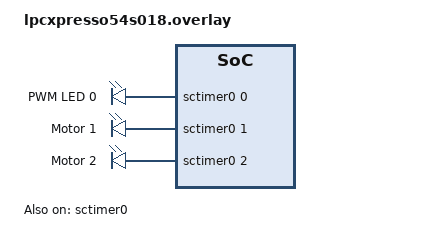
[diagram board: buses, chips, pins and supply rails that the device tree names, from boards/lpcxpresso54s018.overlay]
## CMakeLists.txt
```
# SPDX-License-Identifier: Apache-2.0

cmake_minimum_required(VERSION 3.20.0)
find_package(Zephyr REQUIRED HINTS $ENV{ZEPHYR_BASE})
project(pwm)

target_sources(app PRIVATE src/main.c)
```

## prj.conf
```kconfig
# Enable PWM support
CONFIG_PWM=y

# Enable GPIO for status LED
CONFIG_GPIO=y

# Console output
CONFIG_CONSOLE=y
CONFIG_UART_CONSOLE=y
CONFIG_SERIAL=y

# Logging
CONFIG_LOG=y
CONFIG_PWM_LOG_LEVEL_INF=y
```

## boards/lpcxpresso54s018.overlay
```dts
/*
 * Copyright (c) 2025 Xtooltech
 * SPDX-License-Identifier: Apache-2.0
 */

/* Enable SCTimer PWM */
&sctimer0 {
	status = "okay";
	pinctrl-0 = <&pinmux_sctimer_pwm>;
	pinctrl-names = "default";
};

/* Aliases for PWM channels */
/ {
	aliases {
		pwm-0 = &sctimer0;
		pwm-led0 = &sctimer0;
	};
	
	pwmleds {
		compatible = "pwm-leds";
		
		/* PWM controlled LED on channel 0 */
		pwm_led0: pwm_led_0 {
			pwms = <&sctimer0 0 PWM_MSEC(20) PWM_POLARITY_NORMAL>;
			label = "PWM LED 0";
		};
		
		/* Additional PWM channels for motor control */
		pwm_motor1: pwm_motor_1 {
			pwms = <&sctimer0 1 PWM_MSEC(20) PWM_POLARITY_NORMAL>;
			label = "Motor 1";
		};
		
		pwm_motor2: pwm_motor_2 {
			pwms = <&sctimer0 2 PWM_MSEC(20) PWM_POLARITY_NORMAL>;
			label = "Motor 2";
		};
	};
};
```

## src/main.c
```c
/*
 * Copyright (c) 2025 Xtooltech
 * SPDX-License-Identifier: Apache-2.0
 * 
 * LPC54S018 PWM Sample Application
 * Demonstrates PWM control using SCTimer
 */

#include <zephyr/kernel.h>
#include <zephyr/device.h>
#include <zephyr/drivers/pwm.h>
#include <zephyr/logging/log.h>

LOG_MODULE_REGISTER(pwm_sample, LOG_LEVEL_INF);

/* PWM period in microseconds (50Hz = 20ms period) */
#define PWM_PERIOD_US    20000

/* Servo motor pulse widths */
#define SERVO_MIN_PULSE_US  1000  /* 1ms - 0 degrees */
#define SERVO_MID_PULSE_US  1500  /* 1.5ms - 90 degrees */
#define SERVO_MAX_PULSE_US  2000  /* 2ms - 180 degrees */

/* Get PWM device */
static const struct device *pwm_dev = DEVICE_DT_GET(DT_ALIAS(pwm_0));

/* Function to set PWM duty cycle as percentage */
static int pwm_set_duty_cycle(uint32_t channel, uint8_t duty_percent)
{
    uint32_t pulse_width;
    int ret;
    
    if (duty_percent > 100) {
        duty_percent = 100;
    }
    
    /* Calculate pulse width from percentage */
    pulse_width = (PWM_PERIOD_US * duty_percent) / 100;
    
    /* Set PWM */
    ret = pwm_set(pwm_dev, channel, PWM_PERIOD_US, pulse_width, 0);
    if (ret < 0) {
        LOG_ERR("Failed to set PWM on channel %d: %d", channel, ret);
        return ret;
    }
    
    LOG_INF("Channel %d: duty cycle = %d%%, pulse = %d us", 
            channel, duty_percent, pulse_width);
    
    return 0;
}

/* Function to control servo position */
static int servo_set_position(uint32_t channel, uint8_t angle)
{
    uint32_t pulse_width;
    int ret;
    
    if (angle > 180) {
        angle = 180;
    }
    
    /* Map angle (0-180) to pulse width (1000-2000 us) */
    pulse_width = SERVO_MIN_PULSE_US + 
                  ((SERVO_MAX_PULSE_US - SERVO_MIN_PULSE_US) * angle) / 180;
    
    /* Set PWM */
    ret = pwm_set(pwm_dev, channel, PWM_PERIOD_US, pulse_width, 0);
    if (ret < 0) {
        LOG_ERR("Failed to set servo on channel %d: %d", channel, ret);
        return ret;
    }
    
    LOG_INF("Servo channel %d: angle = %d degrees, pulse = %d us", 
            channel, angle, pulse_width);
    
    return 0;
}

int main(void)
{
    int ret;
    uint8_t duty = 0;
    uint8_t angle = 0;
    bool increasing = true;
    
    LOG_INF("PWM sample application for LPC54S018");
    
    /* Check if PWM device is ready */
    if (!device_is_ready(pwm_dev)) {
        LOG_ERR("PWM device not ready");
        return -ENODEV;
    }
    
    LOG_INF("PWM device ready, starting demonstration");
    
    /* Initialize all channels to 0% */
    for (int i = 0; i < 6; i++) {
        pwm_set_duty_cycle(i, 0);
    }
    
    k_sleep(K_SECONDS(1));
    
    while (1) {
        /* Demonstrate LED dimming on channel 0 */
        pwm_set_duty_cycle(0, duty);
        
        /* Demonstrate servo control on channel 1 */
        servo_set_position(1, angle);
        
        /* Demonstrate motor speed control on channel 2 */
        pwm_set_duty_cycle(2, duty);
        
        /* Update values */
        if (increasing) {
            duty += 5;
            angle += 9;
            if (duty >= 100) {
                duty = 100;
                angle = 180;
                increasing = false;
            }
        } else {
            if (duty >= 5) {
                duty -= 5;
            } else {
                duty = 0;
            }
            if (angle >= 9) {
                angle -= 9;
            } else {
                angle = 0;
            }
            if (duty == 0) {
                increasing = true;
            }
        }
        
        k_sleep(K_MSEC(100));
    }
    
    return 0;
}
```
